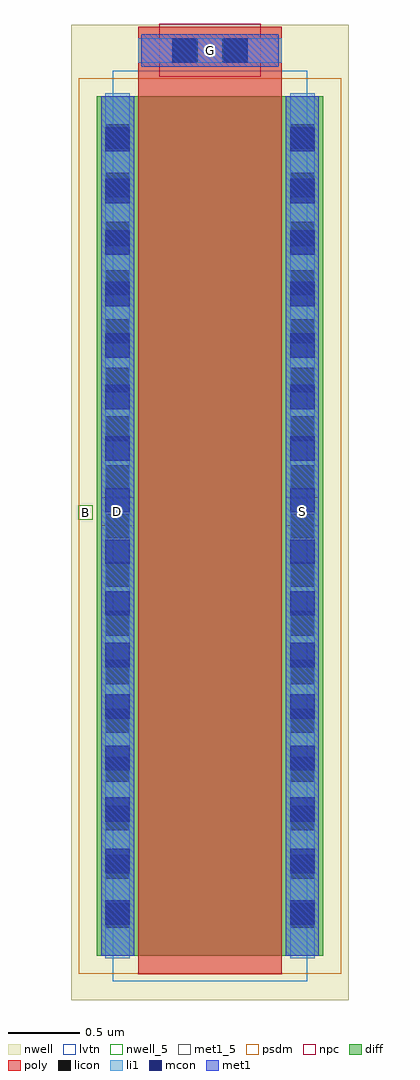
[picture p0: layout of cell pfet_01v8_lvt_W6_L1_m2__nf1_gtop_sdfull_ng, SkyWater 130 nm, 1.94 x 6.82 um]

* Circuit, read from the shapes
.subckt pfet_01v8_lvt_W6_L1_m2__nf1_gtop_sdfull_ng B D G S
XM1 S G D B sky130_fd_pr__pfet_01v8_lvt w=6 l=1
.ends

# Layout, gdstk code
import gdstk
lib = gdstk.Library(unit=1e-6, precision=1e-09)
def R(c, l, rs):  # rectangles x0, y0, x1, y1
    for r in rs: c.add(gdstk.rectangle(r[:2], r[2:], *l))
def A(c, l, x, y, w, h, nx, ny, dx, dy):  # array of equal rectangles
    R(c, l, [(x+i*dx, y+j*dy, x+i*dx+w, y+j*dy+h) for i in range(nx) for j in range(ny)])
nwell_5 = (64, 5)
nwell = (64, 20)
diff = (65, 20)
poly = (66, 20)
licon = (66, 44)
li1 = (67, 20)
mcon = (67, 44)
met1_5 = (68, 5)
met1 = (68, 20)
psdm = (94, 20)
npc = (95, 20)
lvtn = (125, 44)

sky130_fd_pr__pfet_01v8_ = lib.new_cell('sky130_fd_pr__pfet_01v8_lvt_KRZAMB')
R(sky130_fd_pr__pfet_01v8_, nwell, [(-0.97,-3.49,0.97,3.32)])
R(sky130_fd_pr__pfet_01v8_, diff, [(-0.79,-3.18,0.79,2.82)])
R(sky130_fd_pr__pfet_01v8_, poly, [(-0.5,-3.31,0.5,3.305)])
A(sky130_fd_pr__pfet_01v8_, licon, -0.73, -2.985, 0.17, 0.17, 1, 17, 0, 0.34)
A(sky130_fd_pr__pfet_01v8_, licon, 0.56, -2.985, 0.17, 0.17, 1, 17, 0, 0.34)
R(sky130_fd_pr__pfet_01v8_, licon, [(-0.255,3.055,-0.085,3.225), (0.085,3.055,0.255,3.225)])
R(sky130_fd_pr__pfet_01v8_, li1, [(-0.73,-3.2,-0.56,2.84), (0.56,-3.2,0.73,2.84), (-0.5,3.055,0.5,3.225)])
A(sky130_fd_pr__pfet_01v8_, mcon, -0.73, -2.965, 0.17, 0.17, 1, 16, 0, 0.36)
A(sky130_fd_pr__pfet_01v8_, mcon, 0.56, -2.965, 0.17, 0.17, 1, 16, 0, 0.36)
R(sky130_fd_pr__pfet_01v8_, mcon, [(-0.265,3.055,-0.095,3.225), (0.095,3.055,0.265,3.225)])
R(sky130_fd_pr__pfet_01v8_, met1, [(-0.76,-3.18,-0.53,2.82), (0.53,-3.18,0.76,2.82), (-0.48,3.025,0.48,3.255)])
R(sky130_fd_pr__pfet_01v8_, psdm, [(-0.915,-3.305,0.915,2.945)])
R(sky130_fd_pr__pfet_01v8_, npc, [(-0.355,2.955,0.355,3.325)])
R(sky130_fd_pr__pfet_01v8_, lvtn, [(-0.68,-3.36,0.68,3)])
sky130_fd_pr__pfet_01v8_.add(gdstk.Label('D', (-0.645,-0.18), layer=67, texttype=5))
sky130_fd_pr__pfet_01v8_.add(gdstk.Label('S', (0.645,-0.18), layer=67, texttype=5))
sky130_fd_pr__pfet_01v8_.add(gdstk.Label('G', (0,3.14), layer=67, texttype=5))

pfet_01v8_lvt_w6_l1_m2__ = lib.new_cell('pfet_01v8_lvt_W6_L1_m2__nf1_gtop_sdfull_ng')
R(pfet_01v8_lvt_w6_l1_m2__, nwell_5, [(0.05,3.355,0.15,3.455)])
R(pfet_01v8_lvt_w6_l1_m2__, nwell, [(0.05,3.355,0.15,3.455)])
R(pfet_01v8_lvt_w6_l1_m2__, met1_5, [(0.21,3.31,0.44,3.51), (1.5,3.31,1.73,3.51), (0.49,6.515,1.45,6.745)])
R(pfet_01v8_lvt_w6_l1_m2__, met1, [(0.21,3.31,0.44,3.51), (1.5,3.31,1.73,3.51), (0.49,6.515,1.45,6.745)])
pfet_01v8_lvt_w6_l1_m2__.add(gdstk.Reference(sky130_fd_pr__pfet_01v8_, (0.97,3.49)))
pfet_01v8_lvt_w6_l1_m2__.add(gdstk.Label('D', (0.325,3.41), layer=68, texttype=5))
pfet_01v8_lvt_w6_l1_m2__.add(gdstk.Label('S', (1.615,3.41), layer=68, texttype=5))
pfet_01v8_lvt_w6_l1_m2__.add(gdstk.Label('G', (0.97,6.63), layer=68, texttype=5))
pfet_01v8_lvt_w6_l1_m2__.add(gdstk.Label('B', (0.1,3.405), layer=64, texttype=5))

lib.write_gds('pfet_01v8_lvt_W6_L1_m2__nf1_gtop_sdfull_ng.gds')
